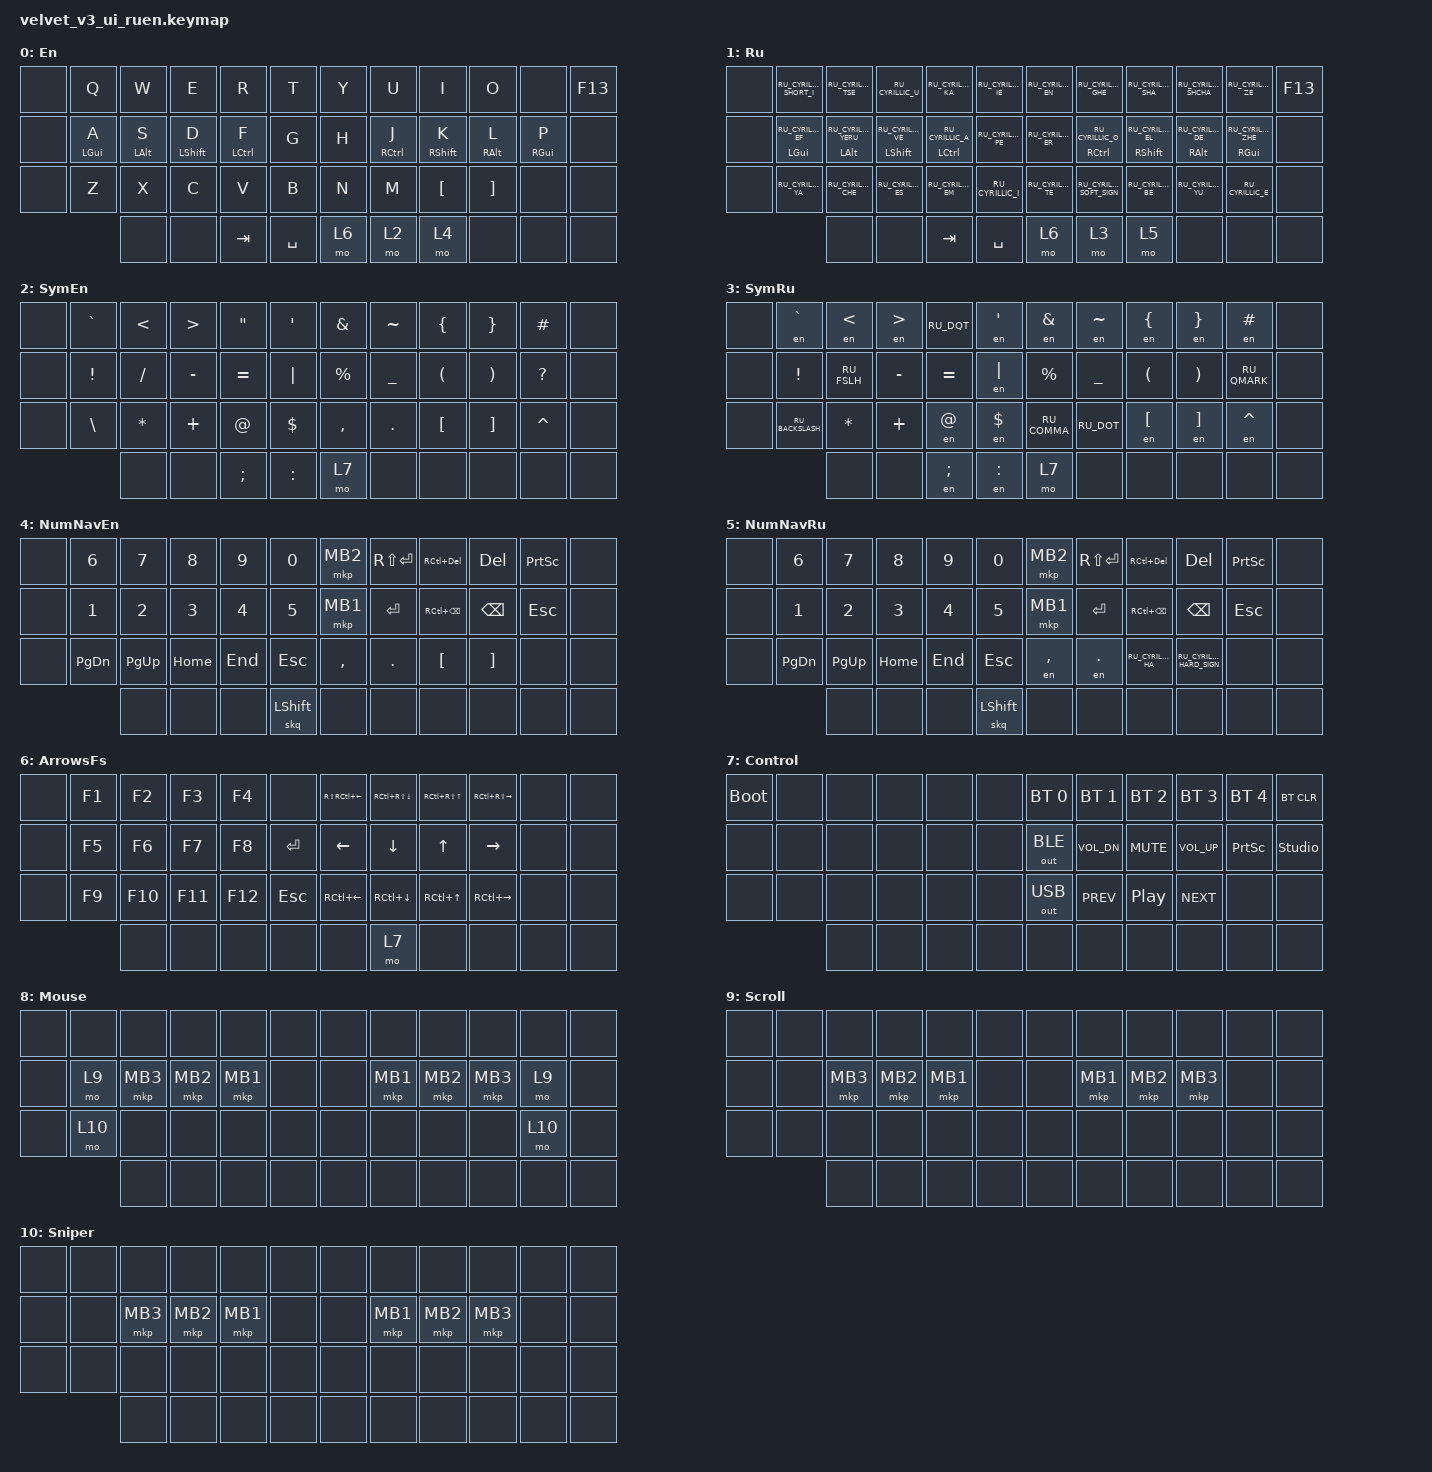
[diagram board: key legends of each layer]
#ifndef KEYMAP_DRAWER

#include "keys_ru.h"

#endif

#include <dt-bindings/zmk/input_transform.h>
#include <input/processors.dtsi>
#include <zephyr/dt-bindings/input/input-event-codes.h>
#include <behaviors.dtsi>
#include <dt-bindings/zmk/bt.h>
#include <dt-bindings/zmk/keys.h>
#include <dt-bindings/zmk/outputs.h>
#include <dt-bindings/zmk/pointing.h>

/ {
    behaviors {
        cap_sen: cap_sen {
            compatible = "zmk,behavior-hold-tap";
            label = "CAP_SEN";
            bindings = <&mo>, <&mkp>;

            #binding-cells = <2>;
            tapping-term-ms = <150>;
            hold-while-undecided;
        };

        mouse_layer: mouse_layer {
            compatible = "zmk,behavior-sticky-key";
            label = "MOUSE_LAYER";
            bindings = <&mo>;
            #binding-cells = <1>;
            release-after-ms = <200>;
        };

        hmr_l: hmr_l {
            compatible = "zmk,behavior-hold-tap";
            label = "HMR_L";
            bindings = <&kp>, <&kp>;

            #binding-cells = <2>;
            tapping-term-ms = <280>;
            quick-tap-ms = <175>;
            require-prior-idle-ms = <150>;
            flavor = "balanced";
            hold-trigger-on-release;
            hold-trigger-key-positions = <44 45 35 34 33 32 31 30 18 19 20 21 22 23 11 10 9 8 7 6 41 42 43>;
        };

        hmr_r: hmr_r {
            compatible = "zmk,behavior-hold-tap";
            label = "HMR_R";
            bindings = <&kp>, <&kp>;

            #binding-cells = <2>;
            tapping-term-ms = <280>;
            quick-tap-ms = <175>;
            require-prior-idle-ms = <150>;
            flavor = "balanced";
            hold-trigger-on-release;
            hold-trigger-key-positions = <0 5 17 29 28 37 36 27 26 25 24 12 13 14 15 16 4 3 2 1 40 38 39>;
        };

        skq: skq {
            compatible = "zmk,behavior-sticky-key";
            label = "SKQ";
            bindings = <&kp>;
            #binding-cells = <1>;
            release-after-ms = <1000>;
            quick-release;
            ignore-modifiers;
        };

        zip_auto_mouse: zip_auto_mouse {
            compatible = "zmk,input-processor-temp-layer";
            #input-processor-cells = <2>;
            require-prior-idle-ms = <800>;
            excluded-positions = <>;
        };
    };

    combos {
        compatible = "zmk,combos";

        cmben {
            bindings = <&layer_en>;
            key-positions = <3 4>;
            layers = <1>;
        };

        cmbru {
            bindings = <&layer_ru>;
            key-positions = <4 3>;
            layers = <0>;
        };

        tmux_focus {
            bindings = <&kp LC(SPACE)>;
            key-positions = <39 16>;
            layers = <1 0>;
        };

        ctrl_shift_v_ru {
            bindings = <&en LS(LC(V))>;
            key-positions = <28 25>;
            layers = <1>;
        };

        ctrl_shift_v_en {
            bindings = <&kp LS(LC(V))>;
            key-positions = <25 28>;
            layers = <0>;
        };

        ctrl_shift_c_ru {
            bindings = <&en LS(LC(C))>;
            key-positions = <25 27>;
            layers = <1>;
        };

        ctrl_shift_c_en {
            bindings = <&kp LS(LC(C))>;
            key-positions = <25 27>;
            layers = <0>;
        };

        alt_tab {
            bindings = <&kp LA(TAB)>;
            key-positions = <14 38>;
            layers = <0 1>;
        };

        #ifndef KEYMAP_DRAWER
#endif

        capslock_one_word {
            bindings = <&caps_word>;
            key-positions = <19 21>;
            layers = <0 1>;
        };

        caps {
            bindings = <&kp CAPSLOCK>;
            key-positions = <19 22>;
            layers = <0 1>;
        };

        window_mode_nvim {
            bindings = <&kp LC(W)>;
            key-positions = <15 39>;
            layers = <0 1>;
        };
    };

    macros {
        to_ru: to_ru {
            compatible = "zmk,behavior-macro";
            #binding-cells = <0>;
            bindings = <&kp LS(LC(N2))>;
            label = "TO_RU";
            wait-ms = <0>;
            tap-ms = <30>;
        };

        to_en: to_en {
            compatible = "zmk,behavior-macro";
            #binding-cells = <0>;
            bindings = <&kp LS(LC(N1))>;
            label = "TO_EN";
            wait-ms = <0>;
            tap-ms = <30>;
        };

        layer_en: layer_en {
            compatible = "zmk,behavior-macro";
            #binding-cells = <0>;
            bindings = <&to 0 &to_en>;
            label = "LAYER_EN";
            wait-ms = <0>;
            tap-ms = <30>;
        };

        layer_ru: layer_ru {
            compatible = "zmk,behavior-macro";
            #binding-cells = <0>;
            bindings = <&to 1 &to_ru>;
            label = "LAYER_RU";
            tap-ms = <30>;
            wait-ms = <0>;
        };

        en: en {
            compatible = "zmk,behavior-macro-one-param";
            #binding-cells = <1>;
            bindings =
                <&to_en>,
                <&macro_press>,
                <&macro_param_1to1 &kp MACRO_PLACEHOLDER>,
                <&macro_pause_for_release>,
                <&macro_release>,
                <&macro_param_1to1 &kp MACRO_PLACEHOLDER>,
                <&macro_tap>,
                <&to_ru>;

            label = "EN";
            wait-ms = <0>;
            tap-ms = <30>;
        };
    };

    keymap {
        compatible = "zmk,keymap";

        en {
            bindings = <
&none  &kp Q              &kp W              &kp E                &kp R           &kp T                      &kp Y  &kp U           &kp I                 &kp O               &none               &kp F13
&none  &hmr_l LEFT_GUI A  &hmr_l LEFT_ALT S  &hmr_l LEFT_SHIFT D  &hmr_l LCTRL F  &kp G                      &kp H  &hmr_r RCTRL J  &hmr_r RIGHT_SHIFT K  &hmr_r RIGHT_ALT L  &hmr_r RIGHT_GUI P  &none
&none  &kp Z              &kp X              &kp C                &kp V           &kp B                      &kp N  &kp M           &kp LBKT              &kp RBKT            &none               &none
                          &none              &none                &kp TAB         &kp SPACE  &mo 6    &mo 2  &mo 4  &none           &none                 &none
            >;

            display-name = "En";
        };

        ru {
            display-name = "Ru";
            bindings = <
&none  &kp RU_CYRILLIC_SHORT_I         &kp RU_CYRILLIC_TSE               &kp RU_CYRILLIC_U                 &kp RU_CYRILLIC_KA          &kp RU_CYRILLIC_IE                  &kp RU_CYRILLIC_EN  &kp RU_CYRILLIC_GHE         &kp RU_CYRILLIC_SHA                &kp RU_CYRILLIC_SHCHA            &kp RU_CYRILLIC_ZE                &kp F13
&none  &hmr_l LEFT_GUI RU_CYRILLIC_EF  &hmr_l LEFT_ALT RU_CYRILLIC_YERU  &hmr_l LEFT_SHIFT RU_CYRILLIC_VE  &hmr_l LCTRL RU_CYRILLIC_A  &kp RU_CYRILLIC_PE                  &kp RU_CYRILLIC_ER  &hmr_r RCTRL RU_CYRILLIC_O  &hmr_r RIGHT_SHIFT RU_CYRILLIC_EL  &hmr_r RIGHT_ALT RU_CYRILLIC_DE  &hmr_r RIGHT_GUI RU_CYRILLIC_ZHE  &none
&none  &kp RU_CYRILLIC_YA              &kp RU_CYRILLIC_CHE               &kp RU_CYRILLIC_ES                &kp RU_CYRILLIC_EM          &kp RU_CYRILLIC_I                   &kp RU_CYRILLIC_TE  &kp RU_CYRILLIC_SOFT_SIGN   &kp RU_CYRILLIC_BE                 &kp RU_CYRILLIC_YU               &kp RU_CYRILLIC_E                 &none
                                       &none                             &none                             &kp TAB                     &kp SPACE           &mo 6    &mo 3  &mo 5               &none                       &none                              &none
            >;
        };

        sym_en {
            bindings = <
&none  &kp GRAVE      &kp LESS_THAN  &kp GREATER_THAN  &kp DQT        &kp SQT                     &kp AMPERSAND  &kp TILDE  &kp LEFT_BRACE  &kp RIGHT_BRACE  &kp HASH   &none
&none  &kp EXCL       &kp FSLH       &kp MINUS         &kp EQUAL      &kp PIPE                    &kp PRCNT      &kp UNDER  &kp LPAR        &kp RPAR         &kp QMARK  &none
&none  &kp BACKSLASH  &kp ASTERISK   &kp PLUS          &kp AT         &kp DOLLAR                  &kp COMMA      &kp DOT    &kp LBKT        &kp RBKT         &kp CARET  &none
                      &none          &none             &kp SEMICOLON  &kp COLON   &mo 7    &none  &none          &none      &none           &none
            >;

            display-name = "SymEn";
        };

        sym_ru {
            display-name = "SymRu";
            bindings = <
&none  &en GRAVE         &en LESS_THAN  &en GREATER_THAN  &kp RU_DQT     &en SQT                     &en AMPERSAND  &en TILDE   &en LEFT_BRACE  &en RIGHT_BRACE  &en HASH      &none
&none  &kp EXCL          &kp RU_FSLH    &kp MINUS         &kp EQUAL      &en PIPE                    &kp PRCNT      &kp UNDER   &kp LPAR        &kp RPAR         &kp RU_QMARK  &none
&none  &kp RU_BACKSLASH  &kp ASTERISK   &kp PLUS          &en AT         &en DOLLAR                  &kp RU_COMMA   &kp RU_DOT  &en LBKT        &en RBKT         &en CARET     &none
                         &none          &none             &en SEMICOLON  &en COLON   &mo 7    &none  &none          &none       &none           &none
            >;
        };

        additional_nav_en {
            display-name = "NumNavEn";
            bindings = <
&none  &kp N6         &kp N7     &kp N8    &kp N9   &kp N0                           &mkp MB2   &kp RS(ENTER)  &kp RC(DELETE)  &kp DELETE  &kp PRINTSCREEN  &none
&none  &kp N1         &kp N2     &kp N3    &kp N4   &kp N5                           &mkp MB1   &kp ENTER      &kp RC(BSPC)    &kp BSPC    &kp ESC          &none
&none  &kp PAGE_DOWN  &kp PG_UP  &kp HOME  &kp END  &kp ESCAPE                       &kp COMMA  &kp DOT        &kp LBKT        &kp RBKT    &none            &none
                      &none      &none     &none    &skq LEFT_SHIFT  &none    &none  &none      &none          &none           &none
            >;
        };

        additional_nav_ru {
            display-name = "NumNavRu";
            bindings = <
&none  &kp N6         &kp N7     &kp N8    &kp N9   &kp N0                           &mkp MB2   &kp RS(ENTER)  &kp RC(DELETE)      &kp DELETE                 &kp PRINTSCREEN  &none
&none  &kp N1         &kp N2     &kp N3    &kp N4   &kp N5                           &mkp MB1   &kp ENTER      &kp RC(BSPC)        &kp BSPC                   &kp ESC          &none
&none  &kp PAGE_DOWN  &kp PG_UP  &kp HOME  &kp END  &kp ESCAPE                       &en COMMA  &en DOT        &kp RU_CYRILLIC_HA  &kp RU_CYRILLIC_HARD_SIGN  &none            &none
                      &none      &none     &none    &skq LEFT_SHIFT  &none    &none  &none      &none          &none               &none
            >;
        };

        nav {
            bindings = <
&none  &kp F1  &kp F2   &kp F3   &kp F4   &none                       &kp RS(RC(LEFT))  &kp RC(RS(DOWN))  &kp RC(RS(UP))  &kp RC(RS(RIGHT))  &none  &none
&none  &kp F5  &kp F6   &kp F7   &kp F8   &kp ENTER                   &kp LEFT          &kp DOWN          &kp UP          &kp RIGHT          &none  &none
&none  &kp F9  &kp F10  &kp F11  &kp F12  &kp ESCAPE                  &kp RC(LEFT)      &kp RC(DOWN)      &kp RC(UP)      &kp RC(RIGHT)      &none  &none
               &none    &none    &none    &none       &none    &mo 7  &none             &none             &none           &none
            >;

            display-name = "ArrowsFs";
        };

        adj {
            bindings = <
&bootloader  &none  &none  &none  &none  &none                  &bt BT_SEL 0  &bt BT_SEL 1  &bt BT_SEL 2      &bt BT_SEL 3  &bt BT_SEL 4     &bt BT_CLR
&none        &none  &none  &none  &none  &none                  &out OUT_BLE  &kp C_VOL_DN  &kp C_MUTE        &kp C_VOL_UP  &kp PRINTSCREEN  &studio_unlock
&none        &none  &none  &none  &none  &none                  &out OUT_USB  &kp C_PREV    &kp C_PLAY_PAUSE  &kp C_NEXT    &none            &none
                    &none  &none  &none  &none  &none    &none  &none         &none         &none             &none
            >;

            display-name = "Control";
        };

        mouse {
            bindings = <
&none  &none   &none     &none     &none     &none                  &none  &none     &none     &none     &none   &none
&none  &mo 9   &mkp MB3  &mkp MB2  &mkp MB1  &none                  &none  &mkp MB1  &mkp MB2  &mkp MB3  &mo 9   &none
&none  &mo 10  &none     &none     &none     &none                  &none  &none     &none     &none     &mo 10  &none
               &none     &none     &none     &none  &none    &none  &none  &none     &none     &none
            >;

            display-name = "Mouse";
        };

        scroll {
            bindings = <
&none  &none  &none     &none     &none     &none                  &none  &none     &none     &none     &none  &none
&none  &none  &mkp MB3  &mkp MB2  &mkp MB1  &none                  &none  &mkp MB1  &mkp MB2  &mkp MB3  &none  &none
&none  &none  &none     &none     &none     &none                  &none  &none     &none     &none     &none  &none
              &none     &none     &none     &none  &none    &none  &none  &none     &none     &none
            >;

            display-name = "Scroll";
        };

        sniper {
            bindings = <
&none  &none  &none     &none     &none     &none                  &none  &none     &none     &none     &none  &none
&none  &none  &mkp MB3  &mkp MB2  &mkp MB1  &none                  &none  &mkp MB1  &mkp MB2  &mkp MB3  &none  &none
&none  &none  &none     &none     &none     &none                  &none  &none     &none     &none     &none  &none
              &none     &none     &none     &none  &none    &none  &none  &none     &none     &none
            >;

            display-name = "Sniper";
        };
    };
};

&trackball { cpi = <1000>; };

&trackball_listener {
    input-processors = <&zip_auto_mouse 8 500>, <&zip_xy_scaler 9 20>;

    scroller {
        layers = <9>;
        input-processors =
            <&zip_xy_transform INPUT_TRANSFORM_Y_INVERT>,
            <&zip_xy_scaler 1 32>,
            <&zip_xy_to_scroll_mapper>;
    };

    sniper {
        layers = <10>;
        input-processors = <&zip_xy_scaler 1 4>;
    };
};
